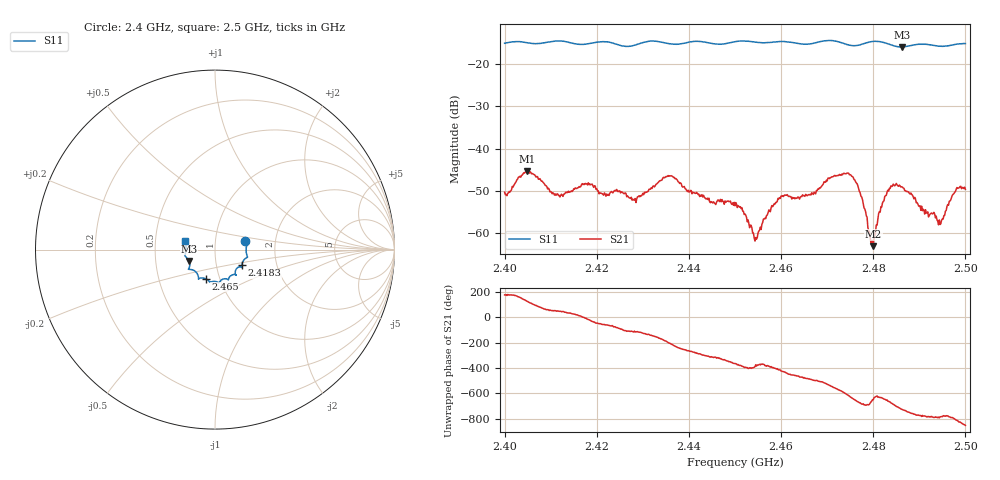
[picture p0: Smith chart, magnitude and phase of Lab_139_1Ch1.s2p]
# Hz S RI R 50
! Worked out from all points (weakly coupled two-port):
!   601 points, 2.4 GHz to 2.5 GHz, reference 50 ohm
!   highest |S21| = -45.34 dB at 2.4048 GHz (marker M1); lowest = -63.0 dB at 2.48 GHz (marker M2)
!   lowest |S11| = -16.0 dB at 2.4862 GHz (marker M3), VSWR 1.38, Z = 37.1 - j4.83 ohm
!   |S11| at or under -10 dB: start of sweep to end of sweep
!   S12 and S22 are empty: the file has one direction only
!   S11 on the Smith chart (normalised r, x): 2.4 GHz: 1.40, +0.13; 2.4183 GHz: 1.33, -0.24; 2.465 GHz: 0.86, -0.29; 2.5 GHz: 0.71, +0.07
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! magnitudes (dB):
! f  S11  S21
! 2.4 GHz  -15.1  -50.3
! 2.4048 GHz  -15.0  -45.3
! 2.4117 GHz  -14.6  -51.0
! 2.4167 GHz  -15.4  -48.6
! 2.4183 GHz  -15.2  -48.5
! 2.4282 GHz  -15.6  -52.1
! 2.4333 GHz  -14.7  -48.0
! 2.436 GHz  -15.3  -46.4
! 2.445 GHz  -15.2  -52.6
! 2.45 GHz  -14.8  -53.5
! 2.4545 GHz  -14.9  -61.0
! 2.4598 GHz  -14.7  -51.8
! 2.465 GHz  -15.4  -51.1
! 2.4667 GHz  -15.2  -50.4
! 2.475 GHz  -15.6  -46.2
! 2.477 GHz  -15.6  -50.1
! 2.48 GHz  -14.7  -63.0
! 2.4833 GHz  -15.3  -50.0
! 2.4862 GHz  -16.0  -49.0
! 2.4943 GHz  -15.8  -56.8
! 2.4977 GHz  -15.5  -50.3
! 2.5 GHz  -15.2  -49.6
